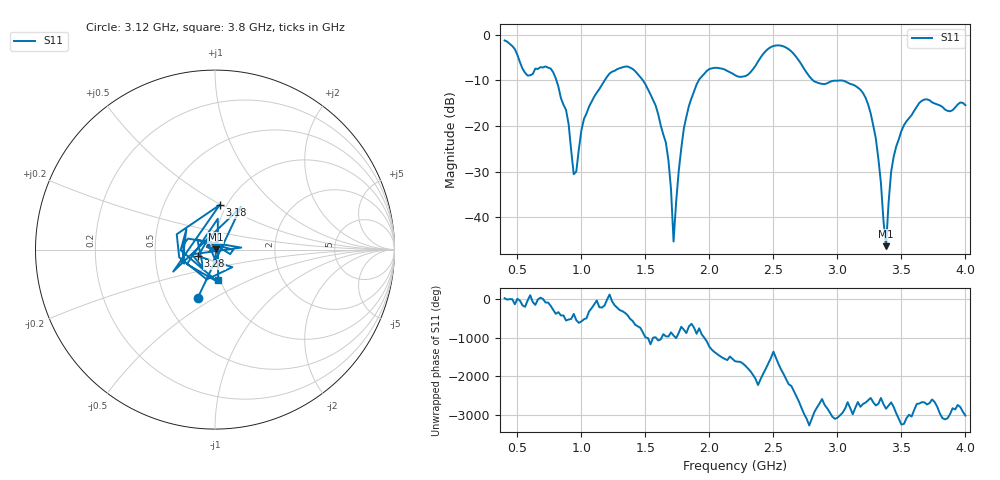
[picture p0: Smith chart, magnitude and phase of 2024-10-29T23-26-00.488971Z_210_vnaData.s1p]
!Created with skrf (http://scikit-rf.org).
# Hz S RI R 50.0
!freq ReS11 ImS11
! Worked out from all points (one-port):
!   181 points, 400 MHz to 4 GHz, reference 50 ohm
!   lowest |S11| = -46.3 dB at 3.38 GHz (marker M1), VSWR 1.01, Z = 50.4 + j0.272 ohm
!   |S11| at or under -10 dB: 804.7 MHz to 1.182 GHz (377.3 MHz wide, 38 % of centre); 1.481 GHz to 1.917 GHz (435.8 MHz wide, 25.7 % of centre); 2.81 GHz to end of sweep
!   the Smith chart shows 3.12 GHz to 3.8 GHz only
!   S11 on the Smith chart (normalised r, x): 3.12 GHz: 0.72, -0.42; 3.18 GHz: 0.93, +0.49; 3.28 GHz: 0.83, -0.06; 3.8 GHz: 0.98, -0.34
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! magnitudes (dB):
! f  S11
! 400 MHz  -1.3
! 580 MHz  -9.0
! 760 MHz  -7.4
! 860 MHz  -15.4
! 900 MHz  -19.6
! 940 MHz  -30.6
! 1.06 GHz  -15.7
! 1.3 GHz  -7.3
! 1.58 GHz  -15.5
! 1.68 GHz  -27.5
! 1.72 GHz  -45.3
! 1.76 GHz  -30.0
! 1.82 GHz  -18.0
! 1.92 GHz  -9.8
! 2.2 GHz  -8.9
! 2.5 GHz  -2.5
! 2.66 GHz  -4.2
! 2.82 GHz  -10.2
! 3.1 GHz  -10.8
! 3.12 GHz  -10.9
! 3.18 GHz  -12.1
! 3.28 GHz  -19.9
! 3.34 GHz  -32.4
! 3.38 GHz  -46.3
! 3.44 GHz  -26.7
! 3.56 GHz  -18.3
! 3.8 GHz  -15.5
! 4 GHz  -15.4
